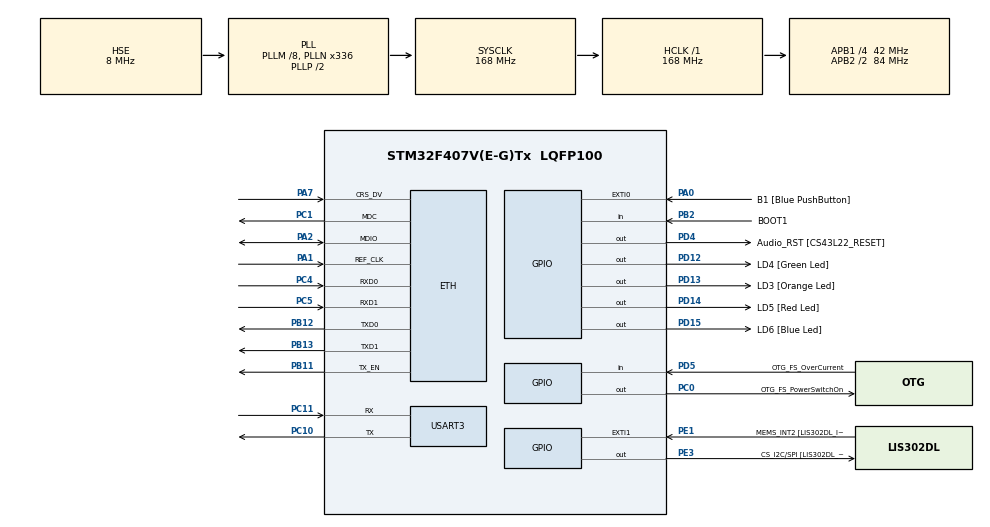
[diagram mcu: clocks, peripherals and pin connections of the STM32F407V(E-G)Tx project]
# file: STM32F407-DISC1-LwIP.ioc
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ETH.MediaInterface=HAL_ETH_RMII_MODE
ETH.PHY_Name_RMII=DP83848_PHY_ADDRESS
LWIP.BSP.number=1
LWIP.Version=v2.1.2_Cube
LWIP0.BSP.STBoard=false
LWIP0.BSP.api=BSP_COMPONENT_DRIVER
LWIP0.BSP.component=DP83848
LWIP0.BSP.instance=DP83848
LWIP0.BSP.name=Driver_PHY
LWIP0.BSP.semaphore=S_DP83848
LWIP0.BSP.solution=DP83848
Mcu.Family=STM32F4
Mcu.Name=STM32F407V(E-G)Tx
Mcu.Package=LQFP100
NVIC.PriorityGroup=NVIC_PRIORITYGROUP_0
PA0-WKUP.GPIO_Label=B1 [Blue PushButton]
PA0-WKUP.Signal=GPXTI0
PA1.Mode=RMII
PA1.Signal=ETH_REF_CLK
PA10.GPIO_Label=OTG_FS_ID
PA10.GPIO_Mode=GPIO_MODE_AF_PP
PA10.GPIO_PuPd=GPIO_NOPULL
PA10.GPIO_Speed=GPIO_SPEED_FREQ_LOW
PA10.Signal=USB_OTG_FS_ID
PA11.GPIO_Label=OTG_FS_DM
PA11.GPIO_Mode=GPIO_MODE_AF_PP
PA11.GPIO_PuPd=GPIO_NOPULL
PA11.GPIO_Speed=GPIO_SPEED_FREQ_LOW
PA11.Signal=USB_OTG_FS_DM
PA12.GPIO_Label=OTG_FS_DP
PA12.GPIO_Mode=GPIO_MODE_AF_PP
PA12.GPIO_PuPd=GPIO_NOPULL
PA12.GPIO_Speed=GPIO_SPEED_FREQ_LOW
PA12.Signal=USB_OTG_FS_DP
PA13.GPIO_Label=SWDIO
PA13.Mode=Serial_Wire
PA13.Signal=SYS_JTMS-SWDIO
PA14.GPIO_Label=SWCLK
PA14.Mode=Serial_Wire
PA14.Signal=SYS_JTCK-SWCLK
PA2.Mode=RMII
PA2.Signal=ETH_MDIO
PA4.GPIO_Label=I2S3_WS [CS43L22_LRCK]
PA4.GPIO_Mode=GPIO_MODE_AF_PP
PA4.GPIO_PuPd=GPIO_NOPULL
PA4.GPIO_Speed=GPIO_SPEED_FREQ_LOW
PA4.Signal=I2S3_WS
PA5.GPIO_Label=SPI1_SCK [LIS302DL_SCL/SPC]
PA5.GPIO_Mode=GPIO_MODE_AF_PP
PA5.GPIO_PuPd=GPIO_NOPULL
PA5.GPIO_Speed=GPIO_SPEED_FREQ_LOW
PA5.Signal=SPI1_SCK
PA6.GPIO_Label=SPI1_MISO [LIS302DL_SDO]
PA6.GPIO_Mode=GPIO_MODE_AF_PP
PA6.GPIO_PuPd=GPIO_NOPULL
PA6.GPIO_Speed=GPIO_SPEED_FREQ_LOW
PA6.Signal=SPI1_MISO
PA7.Mode=RMII
PA7.Signal=ETH_CRS_DV
PA9.GPIO_Label=VBUS_FS
PA9.GPIO_Mode=GPIO_MODE_INPUT
PA9.GPIO_PuPd=GPIO_NOPULL
PA9.Signal=USB_OTG_FS_VBUS
PB10.GPIO_Label=CLK_IN [MP45DT02_CLK]
PB10.GPIO_Mode=GPIO_MODE_AF_PP
PB10.GPIO_PuPd=GPIO_NOPULL
PB10.GPIO_Speed=GPIO_SPEED_FREQ_LOW
PB10.Signal=I2S2_CK
PB11.Mode=RMII
PB11.Signal=ETH_TX_EN
PB12.Mode=RMII
PB12.Signal=ETH_TXD0
PB13.Mode=RMII
PB13.Signal=ETH_TXD1
PB2.GPIO_Label=BOOT1
PB2.GPIO_Mode=GPIO_MODE_INPUT
PB2.GPIO_PuPd=GPIO_NOPULL
PB2.Signal=GPIO_Input
PB3.GPIO_Label=SWO
PB3.Signal=SYS_JTDO-SWO
PB6.GPIO_Label=Audio_SCL [CS43L22_SCL]
PB6.GPIO_Mode=GPIO_MODE_AF_OD
PB6.GPIO_PuPd=GPIO_NOPULL
PB6.GPIO_Speed=GPIO_SPEED_FREQ_LOW
PB6.Signal=I2C1_SCL
PB9.GPIO_Label=Audio_SDA [CS43L22_SDA]
PB9.GPIO_Mode=GPIO_MODE_AF_OD
PB9.GPIO_PuPd=GPIO_NOPULL
PB9.GPIO_Speed=GPIO_SPEED_FREQ_LOW
PB9.Signal=I2C1_SDA
PC0.GPIO_Label=OTG_FS_PowerSwitchOn
PC0.GPIO_PuPd=GPIO_NOPULL
PC0.GPIO_Speed=GPIO_SPEED_FREQ_LOW
PC0.PinState=GPIO_PIN_SET
PC0.Signal=GPIO_Output
PC1.Mode=RMII
PC1.Signal=ETH_MDC
PC10.Mode=Asynchronous
PC10.Signal=USART3_TX
PC11.Mode=Asynchronous
PC11.Signal=USART3_RX
PC12.GPIO_Label=I2S3_SD [CS43L22_SDIN]
PC12.GPIO_Mode=GPIO_MODE_AF_PP
PC12.GPIO_PuPd=GPIO_NOPULL
PC12.GPIO_Speed=GPIO_SPEED_FREQ_LOW
PC12.Signal=I2S3_SD
PC14-OSC32_IN.GPIO_Label=PC14-OSC32_IN
PC14-OSC32_IN.Signal=RCC_OSC32_IN
PC15-OSC32_OUT.GPIO_Label=PC15-OSC32_OUT
PC15-OSC32_OUT.Signal=RCC_OSC32_OUT
PC3.GPIO_Label=PDM_OUT [MP45DT02_DOUT]
PC3.GPIO_Mode=GPIO_MODE_AF_PP
PC3.GPIO_PuPd=GPIO_NOPULL
PC3.GPIO_Speed=GPIO_SPEED_FREQ_LOW
PC3.Signal=I2S2_SD
PC4.Mode=RMII
PC4.Signal=ETH_RXD0
PC5.Mode=RMII
PC5.Signal=ETH_RXD1
PC7.GPIO_Label=I2S3_MCK [CS43L22_MCLK]
PC7.GPIO_Mode=GPIO_MODE_AF_PP
PC7.GPIO_PuPd=GPIO_NOPULL
PC7.GPIO_Speed=GPIO_SPEED_FREQ_LOW
PC7.Signal=I2S3_MCK
PD12.GPIO_Label=LD4 [Green Led]
PD12.GPIO_PuPd=GPIO_NOPULL
PD12.GPIO_Speed=GPIO_SPEED_FREQ_LOW
PD12.Signal=GPIO_Output
PD13.GPIO_Label=LD3 [Orange Led]
PD13.GPIO_PuPd=GPIO_NOPULL
PD13.GPIO_Speed=GPIO_SPEED_FREQ_LOW
PD13.Signal=GPIO_Output
PD14.GPIO_Label=LD5 [Red Led]
PD14.GPIO_PuPd=GPIO_NOPULL
PD14.GPIO_Speed=GPIO_SPEED_FREQ_LOW
PD14.Signal=GPIO_Output
PD15.GPIO_Label=LD6 [Blue Led]
PD15.GPIO_PuPd=GPIO_NOPULL
PD15.GPIO_Speed=GPIO_SPEED_FREQ_LOW
PD15.Signal=GPIO_Output
PD4.GPIO_Label=Audio_RST [CS43L22_RESET]
PD4.GPIO_PuPd=GPIO_NOPULL
PD4.GPIO_Speed=GPIO_SPEED_FREQ_LOW
PD4.Signal=GPIO_Output
PD5.GPIO_Label=OTG_FS_OverCurrent
PD5.GPIO_Mode=GPIO_MODE_INPUT
PD5.GPIO_PuPd=GPIO_NOPULL
PD5.Signal=GPIO_Input
PE1.GPIO_Label=MEMS_INT2 [LIS302DL_INT2]
PE1.GPIO_ModeDefaultEXTI=GPIO_MODE_EVT_RISING
PE1.GPIO_PuPd=GPIO_NOPULL
PE1.Signal=GPXTI1
PE3.GPIO_Label=CS_I2C/SPI [LIS302DL_CS_I2C/SPI]
PE3.GPIO_PuPd=GPIO_NOPULL
PE3.GPIO_Speed=GPIO_SPEED_FREQ_LOW
PE3.Signal=GPIO_Output
PH0-OSC_IN.GPIO_Label=PH0-OSC_IN
PH0-OSC_IN.Mode=HSE-External-Oscillator
PH0-OSC_IN.Signal=RCC_OSC_IN
PH1-OSC_OUT.GPIO_Label=PH1-OSC_OUT
PH1-OSC_OUT.Mode=HSE-External-Oscillator
PH1-OSC_OUT.Signal=RCC_OSC_OUT
ProjectManager.HeapSize=0x200
ProjectManager.StackSize=0x400
ProjectManager.TargetToolchain=Makefile
RCC.48MHZClocksFreq_Value=48000000
RCC.AHBFreq_Value=168000000
RCC.APB1CLKDivider=RCC_HCLK_DIV4
RCC.APB1Freq_Value=42000000
RCC.APB1TimFreq_Value=84000000
RCC.APB2CLKDivider=RCC_HCLK_DIV2
RCC.APB2Freq_Value=84000000
RCC.APB2TimFreq_Value=168000000
RCC.CortexFreq_Value=168000000
RCC.HCLKFreq_Value=168000000
RCC.HSE_VALUE=8000000
RCC.HSI_VALUE=16000000
RCC.LSE_VALUE=32768
RCC.PLLM=8
RCC.PLLN=336
RCC.PLLQ=7
RCC.PLLSourceVirtual=RCC_PLLSOURCE_HSE
RCC.SYSCLKFreq_VALUE=168000000
RCC.SYSCLKSource=RCC_SYSCLKSOURCE_PLLCLK
RCC.VCOOutputFreq_Value=336000000
USART3.VirtualMode=VM_ASYNC
VP_LWIP_VS_Enabled.Mode=Enabled
board=STM32F407G-DISC1

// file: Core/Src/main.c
/* USER CODE BEGIN Header */
/**
  ******************************************************************************
  * @file           : main.c
  * @brief          : Main program body
  ******************************************************************************
  * @attention
  *
  * Copyright (c) 2023 STMicroelectronics.
  * All rights reserved.
  *
  * This software is licensed under terms that can be found in the LICENSE file
  * in the root directory of this software component.
  * If no LICENSE file comes with this software, it is provided AS-IS.
  *
  ******************************************************************************
  */
#include <stdio.h>
/* USER CODE END Header */
#include "main.h"
#include "lwip.h"

/* USER CODE BEGIN Includes */
#include "retarget.h"
/* USER CODE END Includes */

UART_HandleTypeDef huart3;

void SystemClock_Config(void);
static void MX_GPIO_Init(void);
static void MX_USART3_UART_Init(void);

int main(void)
{
  /* USER CODE BEGIN 1 */
  static uint32_t counter;
  GPIO_PinState button_pressed = 0;
  /* USER CODE END 1 */

  /* MCU Configuration--------------------------------------------------------*/

  /* Reset of all peripherals, Initializes the Flash interface and the Systick. */
  HAL_Init();

  /* Configure the system clock */
  SystemClock_Config();

  /* Initialize all configured peripherals */
  MX_GPIO_Init();
  MX_LWIP_Init();
  MX_USART3_UART_Init();
  /* USER CODE BEGIN 2 */
  RetargetInit(&huart3);
  setvbuf(stdin, NULL, _IONBF, 0);
  setvbuf(stdout, NULL, _IONBF, 0);
  setvbuf(stderr, NULL, _IONBF, 0);
  app_init();
  /* USER CODE END 2 */

  /* Infinite loop */
  while (1)
  {

    /* USER CODE BEGIN 3 */
    MX_LWIP_Process();

    button_pressed = HAL_GPIO_ReadPin(B1_GPIO_Port, B1_Pin);

    if (button_pressed == GPIO_PIN_SET) {
      HAL_GPIO_WritePin(LD4_GPIO_Port, LD4_Pin, GPIO_PIN_SET);
      while(HAL_GPIO_ReadPin(B1_GPIO_Port, B1_Pin));
      app_trigger();
    }
    else {
      HAL_GPIO_WritePin(LD4_GPIO_Port, LD4_Pin, GPIO_PIN_RESET);
    }

    HAL_GPIO_TogglePin(LD3_GPIO_Port, LD3_Pin);
    printf("%s(%d,%lu)\n", __func__, __LINE__, counter++);
    HAL_Delay(100);
  }
  /* USER CODE END 3 */
}

void SystemClock_Config(void)
{
  RCC_OscInitTypeDef RCC_OscInitStruct = {0};
  RCC_ClkInitTypeDef RCC_ClkInitStruct = {0};

  /** Configure the main internal regulator output voltage
  */
  __HAL_RCC_PWR_CLK_ENABLE();
  __HAL_PWR_VOLTAGESCALING_CONFIG(PWR_REGULATOR_VOLTAGE_SCALE1);

  /** Initializes the RCC Oscillators according to the specified parameters
  * in the RCC_OscInitTypeDef structure.
  */
  RCC_OscInitStruct.OscillatorType = RCC_OSCILLATORTYPE_HSE;
  RCC_OscInitStruct.HSEState = RCC_HSE_ON;
  RCC_OscInitStruct.PLL.PLLState = RCC_PLL_ON;
  RCC_OscInitStruct.PLL.PLLSource = RCC_PLLSOURCE_HSE;
  RCC_OscInitStruct.PLL.PLLM = 8;
  RCC_OscInitStruct.PLL.PLLN = 336;
  RCC_OscInitStruct.PLL.PLLP = RCC_PLLP_DIV2;
  RCC_OscInitStruct.PLL.PLLQ = 7;
  if (HAL_RCC_OscConfig(&RCC_OscInitStruct) != HAL_OK)
  {
    Error_Handler();
  }

  /** Initializes the CPU, AHB and APB buses clocks
  */
  RCC_ClkInitStruct.ClockType = RCC_CLOCKTYPE_HCLK|RCC_CLOCKTYPE_SYSCLK
                              |RCC_CLOCKTYPE_PCLK1|RCC_CLOCKTYPE_PCLK2;
  RCC_ClkInitStruct.SYSCLKSource = RCC_SYSCLKSOURCE_PLLCLK;
  RCC_ClkInitStruct.AHBCLKDivider = RCC_SYSCLK_DIV1;
  RCC_ClkInitStruct.APB1CLKDivider = RCC_HCLK_DIV4;
  RCC_ClkInitStruct.APB2CLKDivider = RCC_HCLK_DIV2;

  if (HAL_RCC_ClockConfig(&RCC_ClkInitStruct, FLASH_LATENCY_5) != HAL_OK)
  {
    Error_Handler();
  }
}

static void MX_USART3_UART_Init(void)
{

  huart3.Instance = USART3;
  huart3.Init.BaudRate = 115200;
  huart3.Init.WordLength = UART_WORDLENGTH_8B;
  huart3.Init.StopBits = UART_STOPBITS_1;
  huart3.Init.Parity = UART_PARITY_NONE;
  huart3.Init.Mode = UART_MODE_TX_RX;
  huart3.Init.HwFlowCtl = UART_HWCONTROL_NONE;
  huart3.Init.OverSampling = UART_OVERSAMPLING_16;
  if (HAL_UART_Init(&huart3) != HAL_OK)
  {
    Error_Handler();
  }

}

static void MX_GPIO_Init(void)
{
  GPIO_InitTypeDef GPIO_InitStruct = {0};

  /* GPIO Ports Clock Enable */
  __HAL_RCC_GPIOE_CLK_ENABLE();
  __HAL_RCC_GPIOC_CLK_ENABLE();
  __HAL_RCC_GPIOH_CLK_ENABLE();
  __HAL_RCC_GPIOA_CLK_ENABLE();
  __HAL_RCC_GPIOB_CLK_ENABLE();
  __HAL_RCC_GPIOD_CLK_ENABLE();

  /*Configure GPIO pin Output Level */
  HAL_GPIO_WritePin(CS_I2C_SPI_GPIO_Port, CS_I2C_SPI_Pin, GPIO_PIN_RESET);

  /*Configure GPIO pin Output Level */
  HAL_GPIO_WritePin(OTG_FS_PowerSwitchOn_GPIO_Port, OTG_FS_PowerSwitchOn_Pin, GPIO_PIN_SET);

  /*Configure GPIO pin Output Level */
  HAL_GPIO_WritePin(GPIOD, LD4_Pin|LD3_Pin|LD5_Pin|LD6_Pin
                          |Audio_RST_Pin, GPIO_PIN_RESET);

  /*Configure GPIO pin : CS_I2C_SPI_Pin */
  GPIO_InitStruct.Pin = CS_I2C_SPI_Pin;
  GPIO_InitStruct.Mode = GPIO_MODE_OUTPUT_PP;
  GPIO_InitStruct.Pull = GPIO_NOPULL;
  GPIO_InitStruct.Speed = GPIO_SPEED_FREQ_LOW;
  HAL_GPIO_Init(CS_I2C_SPI_GPIO_Port, &GPIO_InitStruct);

  /*Configure GPIO pin : OTG_FS_PowerSwitchOn_Pin */
  GPIO_InitStruct.Pin = OTG_FS_PowerSwitchOn_Pin;
  GPIO_InitStruct.Mode = GPIO_MODE_OUTPUT_PP;
  GPIO_InitStruct.Pull = GPIO_NOPULL;
  GPIO_InitStruct.Speed = GPIO_SPEED_FREQ_LOW;
  HAL_GPIO_Init(OTG_FS_PowerSwitchOn_GPIO_Port, &GPIO_InitStruct);

  /*Configure GPIO pin : PDM_OUT_Pin */
  GPIO_InitStruct.Pin = PDM_OUT_Pin;
  GPIO_InitStruct.Mode = GPIO_MODE_AF_PP;
  GPIO_InitStruct.Pull = GPIO_NOPULL;
  GPIO_InitStruct.Speed = GPIO_SPEED_FREQ_LOW;
  GPIO_InitStruct.Alternate = GPIO_AF5_SPI2;
  HAL_GPIO_Init(PDM_OUT_GPIO_Port, &GPIO_InitStruct);

  /*Configure GPIO pin : B1_Pin */
  GPIO_InitStruct.Pin = B1_Pin;
  GPIO_InitStruct.Mode = GPIO_MODE_IT_RISING;
  GPIO_InitStruct.Pull = GPIO_NOPULL;
  HAL_GPIO_Init(B1_GPIO_Port, &GPIO_InitStruct);

  /*Configure GPIO pin : I2S3_WS_Pin */
  GPIO_InitStruct.Pin = I2S3_WS_Pin;
  GPIO_InitStruct.Mode = GPIO_MODE_AF_PP;
  GPIO_InitStruct.Pull = GPIO_NOPULL;
  GPIO_InitStruct.Speed = GPIO_SPEED_FREQ_LOW;
  GPIO_InitStruct.Alternate = GPIO_AF6_SPI3;
  HAL_GPIO_Init(I2S3_WS_GPIO_Port, &GPIO_InitStruct);

  /*Configure GPIO pins : SPI1_SCK_Pin SPI1_MISO_Pin */
  GPIO_InitStruct.Pin = SPI1_SCK_Pin|SPI1_MISO_Pin;
  GPIO_InitStruct.Mode = GPIO_MODE_AF_PP;
  GPIO_InitStruct.Pull = GPIO_NOPULL;
  GPIO_InitStruct.Speed = GPIO_SPEED_FREQ_LOW;
  GPIO_InitStruct.Alternate = GPIO_AF5_SPI1;
  HAL_GPIO_Init(GPIOA, &GPIO_InitStruct);

  /*Configure GPIO pin : BOOT1_Pin */
  GPIO_InitStruct.Pin = BOOT1_Pin;
  GPIO_InitStruct.Mode = GPIO_MODE_INPUT;
  GPIO_InitStruct.Pull = GPIO_NOPULL;
  HAL_GPIO_Init(BOOT1_GPIO_Port, &GPIO_InitStruct);

  /*Configure GPIO pin : CLK_IN_Pin */
  GPIO_InitStruct.Pin = CLK_IN_Pin;
  GPIO_InitStruct.Mode = GPIO_MODE_AF_PP;
  GPIO_InitStruct.Pull = GPIO_NOPULL;
  GPIO_InitStruct.Speed = GPIO_SPEED_FREQ_LOW;
  GPIO_InitStruct.Alternate = GPIO_AF5_SPI2;
  HAL_GPIO_Init(CLK_IN_GPIO_Port, &GPIO_InitStruct);

  /*Configure GPIO pins : LD4_Pin LD3_Pin LD5_Pin LD6_Pin
                           Audio_RST_Pin */
  GPIO_InitStruct.Pin = LD4_Pin|LD3_Pin|LD5_Pin|LD6_Pin
                          |Audio_RST_Pin;
  GPIO_InitStruct.Mode = GPIO_MODE_OUTPUT_PP;
  GPIO_InitStruct.Pull = GPIO_NOPULL;
  GPIO_InitStruct.Speed = GPIO_SPEED_FREQ_LOW;
  HAL_GPIO_Init(GPIOD, &GPIO_InitStruct);

  /*Configure GPIO pins : I2S3_MCK_Pin I2S3_SD_Pin */
  GPIO_InitStruct.Pin = I2S3_MCK_Pin|I2S3_SD_Pin;
  GPIO_InitStruct.Mode = GPIO_MODE_AF_PP;
  GPIO_InitStruct.Pull = GPIO_NOPULL;
  GPIO_InitStruct.Speed = GPIO_SPEED_FREQ_LOW;
  GPIO_InitStruct.Alternate = GPIO_AF6_SPI3;
  HAL_GPIO_Init(GPIOC, &GPIO_InitStruct);

  /*Configure GPIO pin : VBUS_FS_Pin */
  GPIO_InitStruct.Pin = VBUS_FS_Pin;
  GPIO_InitStruct.Mode = GPIO_MODE_INPUT;
  GPIO_InitStruct.Pull = GPIO_NOPULL;
  HAL_GPIO_Init(VBUS_FS_GPIO_Port, &GPIO_InitStruct);

  /*Configure GPIO pins : OTG_FS_ID_Pin OTG_FS_DM_Pin OTG_FS_DP_Pin */
  GPIO_InitStruct.Pin = OTG_FS_ID_Pin|OTG_FS_DM_Pin|OTG_FS_DP_Pin;
  GPIO_InitStruct.Mode = GPIO_MODE_AF_PP;
  GPIO_InitStruct.Pull = GPIO_NOPULL;
  GPIO_InitStruct.Speed = GPIO_SPEED_FREQ_LOW;
  GPIO_InitStruct.Alternate = GPIO_AF10_OTG_FS;
  HAL_GPIO_Init(GPIOA, &GPIO_InitStruct);

  /*Configure GPIO pin : OTG_FS_OverCurrent_Pin */
  GPIO_InitStruct.Pin = OTG_FS_OverCurrent_Pin;
  GPIO_InitStruct.Mode = GPIO_MODE_INPUT;
  GPIO_InitStruct.Pull = GPIO_NOPULL;
  HAL_GPIO_Init(OTG_FS_OverCurrent_GPIO_Port, &GPIO_InitStruct);

  /*Configure GPIO pins : Audio_SCL_Pin Audio_SDA_Pin */
  GPIO_InitStruct.Pin = Audio_SCL_Pin|Audio_SDA_Pin;
  GPIO_InitStruct.Mode = GPIO_MODE_AF_OD;
  GPIO_InitStruct.Pull = GPIO_NOPULL;
  GPIO_InitStruct.Speed = GPIO_SPEED_FREQ_LOW;
  GPIO_InitStruct.Alternate = GPIO_AF4_I2C1;
  HAL_GPIO_Init(GPIOB, &GPIO_InitStruct);

  /*Configure GPIO pin : MEMS_INT2_Pin */
  GPIO_InitStruct.Pin = MEMS_INT2_Pin;
  GPIO_InitStruct.Mode = GPIO_MODE_EVT_RISING;
  GPIO_InitStruct.Pull = GPIO_NOPULL;
  HAL_GPIO_Init(MEMS_INT2_GPIO_Port, &GPIO_InitStruct);

}

void Error_Handler(void)
{
  __disable_irq();
  while (1)
  {
  }
}
